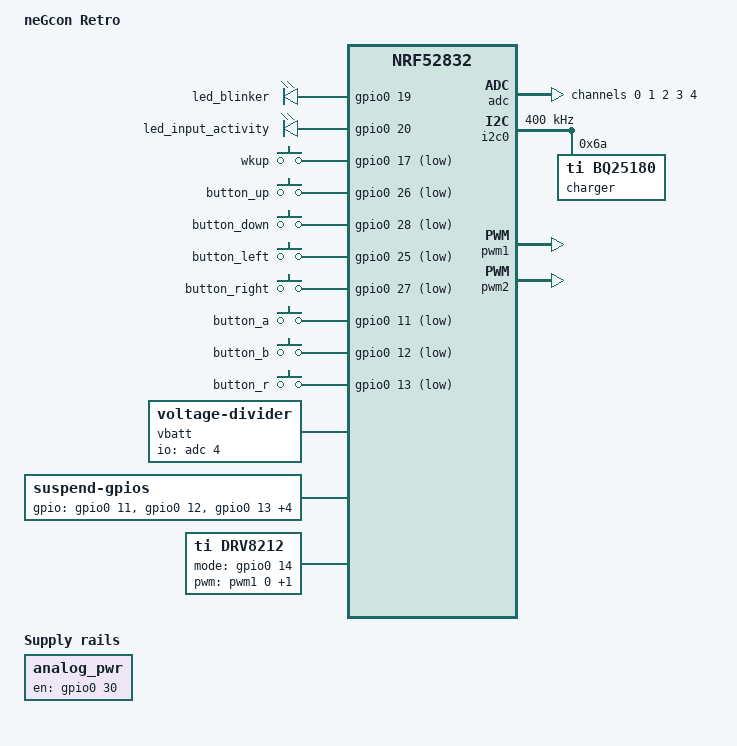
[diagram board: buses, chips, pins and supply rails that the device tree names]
/dts-v1/;
#include <nordic/nrf52832_qfaa.dtsi>
#include <zephyr/dt-bindings/input/input-event-codes.h>
#include "negcon_retro-pinctrl.dtsi"
#include <dt-bindings/hid.h>

/ {
	model = "neGcon Retro";
	compatible = "balto,negcon-retro";

	chosen {
		zephyr,sram = &sram0;
		zephyr,flash = &flash0;
		zephyr,code-partition = &slot0_partition;
	};

	leds {
		compatible = "gpio-leds";
		led_blinker: led_a {
			gpios = <&gpio0 19 GPIO_ACTIVE_HIGH>;
		};
		led_input_activity: led_b {
			gpios = <&gpio0 20 GPIO_ACTIVE_HIGH>;
		};
	};

	buttons: buttons {
		compatible = "gpio-keys";

		wkup: button_start {
			gpios = <&gpio0 17 (GPIO_PULL_UP | GPIO_ACTIVE_LOW)>;
			zephyr,code = <INPUT_BTN_START>;
		};

		button_up {
			gpios = <&gpio0 26 (GPIO_PULL_UP | GPIO_ACTIVE_LOW)>;
			zephyr,code = <INPUT_BTN_DPAD_UP>;
		};
		button_down {
			gpios = <&gpio0 28 (GPIO_PULL_UP | GPIO_ACTIVE_LOW)>;
			zephyr,code = <INPUT_BTN_DPAD_DOWN>;
		};
		button_left {
			gpios = <&gpio0 25 (GPIO_PULL_UP | GPIO_ACTIVE_LOW)>;
			zephyr,code = <INPUT_BTN_DPAD_LEFT>;
		};
		button_right {
			gpios = <&gpio0 27 (GPIO_PULL_UP | GPIO_ACTIVE_LOW)>;
			zephyr,code = <INPUT_BTN_DPAD_RIGHT>;
		};

		button_a {
			gpios = <&gpio0 11 (GPIO_PULL_UP | GPIO_ACTIVE_LOW)>;
			zephyr,code = <INPUT_BTN_EAST>;
		};
		button_b {
			gpios = <&gpio0 12 (GPIO_PULL_UP | GPIO_ACTIVE_LOW)>;
			zephyr,code = <INPUT_BTN_NORTH>;
		};
		button_r {
			gpios = <&gpio0 13 (GPIO_PULL_UP | GPIO_ACTIVE_LOW)>;
			zephyr,code = <INPUT_BTN_TR>;
		};
	};

	aa: analog_axis {
		compatible = "analog-axis";
		axis-ii {
			io-channels = <&adc 0>;
			in-min = <100>;
			in-max = <800>;
			zephyr,axis = <INPUT_ABS_RY>;
		};
		axis-i {
			io-channels = <&adc 1>;
			in-min = <100>;
			in-max = <800>;
			zephyr,axis = <INPUT_ABS_Y>;
		};
		axis-swivel {
			io-channels = <&adc 2>;
			in-deadzone = <50>;
			in-min = <100>;
			in-max = <800>;
			zephyr,axis = <INPUT_ABS_X>;
		};
		axis-l {
			io-channels = <&adc 3>;
			in-min = <100>;
			in-max = <800>;
			zephyr,axis = <INPUT_ABS_RX>;
		};
	};

	analog_pwr: analog_en {
		 compatible = "regulator-fixed";
		 regulator-name = "analog_en";
		 enable-gpios = <&gpio0 30 GPIO_ACTIVE_HIGH>;
		 regulator-boot-on;
	};

	vbatt: vbatt {
		compatible = "voltage-divider";
		io-channels = <&adc 4>;
		output-ohms = <100000>;
		full-ohms = <200000>;
	};

	suspend-gpios {
		compatible = "suspend-gpios";
		gpios = <&gpio0 11 (GPIO_PULL_DOWN | GPIO_ACTIVE_HIGH)>,
			<&gpio0 12 (GPIO_PULL_DOWN | GPIO_ACTIVE_HIGH)>,
			<&gpio0 13 (GPIO_PULL_DOWN | GPIO_ACTIVE_HIGH)>,
			<&gpio0 25 (GPIO_PULL_DOWN | GPIO_ACTIVE_HIGH)>,
			<&gpio0 26 (GPIO_PULL_DOWN | GPIO_ACTIVE_HIGH)>,
			<&gpio0 27 (GPIO_PULL_DOWN | GPIO_ACTIVE_HIGH)>,
			<&gpio0 28 (GPIO_PULL_DOWN | GPIO_ACTIVE_HIGH)>;
	};

	drv8212: drv8212 {
		compatible = "ti,drv8212";
		mode-gpios = <&gpio0 14 GPIO_ACTIVE_HIGH>;
		pwms = <&pwm1 0 PWM_HZ(160) PWM_POLARITY_NORMAL>,
		       <&pwm2 0 PWM_KHZ(8) PWM_POLARITY_NORMAL>;
	};

	hid {
		compatible = "hid";
		input {
			hid-gamepad {
				compatible = "hid-gamepad";
				input = <&aa &buttons>;
				input-id = <1>;
				report = <HID_GAMEPAD_REPORT(1)>;
			};
		};
		output {
			hid-hog {
				compatible = "hid-hog";
			};
		};
	};

	ble-unpair {
		input = <&buttons>;
		compatible = "ble-unpair";
		key-a = <INPUT_BTN_START>;
		key-b = <INPUT_BTN_NORTH>;
	};
};

&uicr {
	nfct-pins-as-gpios;
};

&adc {
	status = "okay";
	#address-cells = <1>;
	#size-cells = <0>;

	channel@0 {
		reg = <0>;
		zephyr,gain = "ADC_GAIN_1_5";
		zephyr,reference = "ADC_REF_INTERNAL";
		zephyr,acquisition-time = <ADC_ACQ_TIME(ADC_ACQ_TIME_MICROSECONDS, 5)>;
		zephyr,input-positive = <NRF_SAADC_AIN0>;
		zephyr,resolution = <10>;
	};
	channel@1 {
		reg = <1>;
		zephyr,gain = "ADC_GAIN_1_5";
		zephyr,reference = "ADC_REF_INTERNAL";
		zephyr,acquisition-time = <ADC_ACQ_TIME(ADC_ACQ_TIME_MICROSECONDS, 5)>;
		zephyr,input-positive = <NRF_SAADC_AIN1>;
		zephyr,resolution = <10>;
	};
	channel@2 {
		reg = <2>;
		zephyr,gain = "ADC_GAIN_1_5";
		zephyr,reference = "ADC_REF_INTERNAL";
		zephyr,acquisition-time = <ADC_ACQ_TIME(ADC_ACQ_TIME_MICROSECONDS, 5)>;
		zephyr,input-positive = <NRF_SAADC_AIN2>;
		zephyr,resolution = <10>;
	};
	channel@3 {
		reg = <3>;
		zephyr,gain = "ADC_GAIN_1_5";
		zephyr,reference = "ADC_REF_INTERNAL";
		zephyr,acquisition-time = <ADC_ACQ_TIME(ADC_ACQ_TIME_MICROSECONDS, 5)>;
		zephyr,input-positive = <NRF_SAADC_AIN5>;
		zephyr,resolution = <10>;
	};

	channel@4 {
		reg = <4>;
		zephyr,gain = "ADC_GAIN_1_4";
		zephyr,reference = "ADC_REF_INTERNAL";
		zephyr,acquisition-time = <ADC_ACQ_TIME(ADC_ACQ_TIME_MICROSECONDS, 40)>;
		zephyr,input-positive = <NRF_SAADC_AIN3>;
		zephyr,resolution = <10>;
	};
};

&gpiote {
	status = "okay";
};

&gpio0 {
	status = "okay";
	sense-edge-mask = <0xffffffff>;
};

&i2c0 {
	compatible = "nordic,nrf-twi";
	status = "okay";
	clock-frequency = <I2C_BITRATE_FAST>;
	pinctrl-0 = <&i2c0_default>;
	pinctrl-1 = <&i2c0_sleep>;
	pinctrl-names = "default", "sleep";

	charger: bq25180@6a {
		compatible = "ti,bq25180";
		reg = <0x6a>;
		constant-charge-current-max-microamp = <500000>;
	};
};

&pwm1 {
	status = "okay";
	pinctrl-0 = <&pwm1_default>;
	pinctrl-1 = <&pwm1_sleep>;
	pinctrl-names = "default", "sleep";
};

&pwm2 {
	status = "okay";
	pinctrl-0 = <&pwm2_default>;
	pinctrl-1 = <&pwm2_sleep>;
	pinctrl-names = "default", "sleep";
};

&flash0 {
	partitions {
		compatible = "fixed-partitions";
		#address-cells = <1>;
		#size-cells = <1>;

		boot_partition: partition@0 {
			label = "mcuboot";
			reg = <0x00000000 0x8000>;
		};
		slot0_partition: partition@8000 {
			label = "image-0";
			reg = <0x00008000 0x3a000>;
		};
		slot1_partition: partition@42000 {
			label = "image-1";
			reg = <0x00042000 0x3a000>;
		};
		storage_partition: partition@7c000 {
			label = "storage";
			reg = <0x0007c000 0x00004000>;
		};
	};
};
